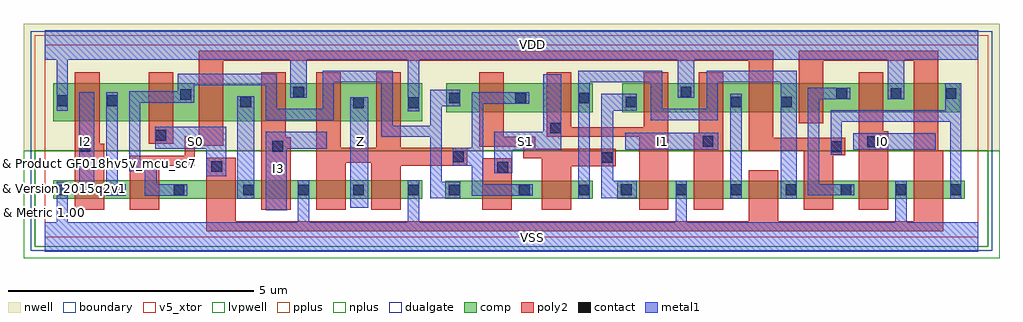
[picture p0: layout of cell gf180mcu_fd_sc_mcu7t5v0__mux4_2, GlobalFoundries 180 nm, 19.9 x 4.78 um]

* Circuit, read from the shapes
.subckt gf180mcu_fd_sc_mcu7t5v0__mux4_2 I0 I1 I2 I3 S0 S1 VDD VSS Z
XM1 n1 I2 VSS VSUBS nfet_05v0 w=0.38u l=0.6u
XM2 n2 n3 n1 VSUBS nfet_05v0 w=0.38u l=0.6u
XM3 n4 S0 n2 VSUBS nfet_05v0 w=0.38u l=0.6u
XM4 VSS I3 n4 VSUBS nfet_05v0 w=0.38u l=0.6u
XM5 Z n5 VSS VSUBS nfet_05v0 w=0.38u l=0.6u m=2
XM6 n5 S1 n2 VSUBS nfet_05v0 w=0.365u l=0.6u
XM7 n6 n7 n5 VSUBS nfet_05v0 w=0.365u l=0.6u
XM8 VSS S1 n7 VSUBS nfet_05v0 w=0.365u l=0.6u
XM9 n8 I1 VSS VSUBS nfet_05v0 w=0.365u l=0.6u
XM10 n6 S0 n8 VSUBS nfet_05v0 w=0.365u l=0.6u
XM11 n9 n3 n6 VSUBS nfet_05v0 w=0.365u l=0.6u
XM12 VSS I0 n9 VSUBS nfet_05v0 w=0.365u l=0.6u
XM13 n3 S0 VSS VSUBS nfet_05v0 w=0.365u l=0.6u
XM14 n1 I2 VDD n10 pfet_05v0 w=0.78u l=0.5u
XM15 n2 S0 n1 n10 pfet_05v0 w=0.78u l=0.5u
XM16 n4 n3 n2 n10 pfet_05v0 w=0.78u l=0.5u
XM17 VDD I3 n4 n10 pfet_05v0 w=0.78u l=0.5u
XM18 Z n5 VDD n10 pfet_05v0 w=0.78u l=0.5u m=2
XM19 n5 n7 n2 n10 pfet_05v0 w=0.595u l=0.5u
XM20 n6 S1 n5 n10 pfet_05v0 w=0.595u l=0.5u
XM21 VDD S1 n7 n10 pfet_05v0 w=0.595u l=0.5u
XM22 n8 I1 VDD n10 pfet_05v0 w=0.595u l=0.5u
XM23 n6 n3 n8 n10 pfet_05v0 w=0.595u l=0.5u
XM24 n9 S0 n6 n10 pfet_05v0 w=0.595u l=0.5u
XM25 VDD I0 n9 n10 pfet_05v0 w=0.595u l=0.5u
XM26 n3 S0 VDD n10 pfet_05v0 w=0.595u l=0.5u
.ends

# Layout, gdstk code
import gdstk
lib = gdstk.Library(unit=1e-6, precision=1e-09)
def R(c, l, rs):  # rectangles x0, y0, x1, y1
    for r in rs: c.add(gdstk.rectangle(r[:2], r[2:], *l))
def A(c, l, x, y, w, h, nx, ny, dx, dy):  # array of equal rectangles
    R(c, l, [(x+i*dx, y+j*dy, x+i*dx+w, y+j*dy+h) for i in range(nx) for j in range(ny)])
def P(c, l, *ps):  # polygons
    for p in ps: c.add(gdstk.Polygon(p, *l))
boundary = (0, 0)
nwell = (21, 0)
comp = (22, 0)
poly2 = (30, 0)
pplus = (31, 0)
nplus = (32, 0)
contact = (33, 0)
metal1 = (34, 0)
dualgate = (55, 0)
v5_xtor = (112, 1)
lvpwell = (204, 0)

gf180mcu_fd_sc_mcu7t5v0_ = lib.new_cell('gf180mcu_fd_sc_mcu7t5v0__mux4_2')
R(gf180mcu_fd_sc_mcu7t5v0_, boundary, [(0,0,19.04,3.92)])
R(gf180mcu_fd_sc_mcu7t5v0_, nwell, [(-0.43,1.76,19.47,4.35)])
R(gf180mcu_fd_sc_mcu7t5v0_, comp, [(0.18,0.78,7.7,1.16), (8.17,0.78,11.18,1.145), (11.68,0.78,18.76,1.145), (0.18,2.36,7.7,3.14), (8.185,2.545,11.18,3.14), (11.78,2.545,18.66,3.14)])
R(gf180mcu_fd_sc_mcu7t5v0_, poly2, [(8.92,0.56,9.52,1.605), (2.12,1.9,2.62,3.36)])
P(gf180mcu_fd_sc_mcu7t5v0_, poly2, [(0.62,0.56),(0.62,3.36),(1.12,3.36),(1.12,1.9),(1.22,1.9),(1.22,0.56)],
  [(4.42,0.56),(4.42,3.36),(4.92,3.36),(4.92,2.04),(5.02,2.04),(5.02,0.56)],
  [(5.54,0.56),(5.54,3.36),(6.04,3.36),(6.04,1.82),(6.76,1.82),(6.76,3.36),(7.26,3.36),(7.26,1.82),(8.62,1.82),(8.62,1.46),(7.26,1.46),(7.26,0.56),(6.66,0.56),(6.66,1.52),(6.14,1.52),(6.14,0.56)],
  [(10.135,0.56),(10.135,1.605),(9.76,1.605),(9.76,1.845),(8.86,1.845),(8.86,3.36),(9.36,3.36),(9.36,2.045),(10,2.045),(10,1.805),(11.645,1.805),(11.645,1.445),(10.735,1.445),(10.735,0.56)],
  [(12.12,0.56),(12.12,2.045),(10.24,2.045),(10.24,3.36),(10.74,3.36),(10.74,2.245),(12.22,2.245),(12.22,3.36),(12.72,3.36),(12.72,0.56)],
  [(13.24,0.56),(13.24,2.13),(13.34,2.13),(13.34,3.36),(13.84,3.36),(13.84,0.56)],
  [(1.74,0.56),(1.74,1.66),(2.86,1.66),(2.86,2.06),(3.14,2.06),(3.14,3.8),(14.86,3.8),(14.86,2.025),(16.32,2.025),(16.32,1.665),(16.08,1.665),(16.08,0.56),(15.48,0.56),(15.48,1.76),(14.36,1.76),(14.36,3.6),(3.64,3.6),(3.64,1.86),(3.06,1.86),(3.06,1.46),(2.34,1.46),(2.34,0.56)],
  [(16.6,0.56),(16.6,3.36),(17.1,3.36),(17.1,2.155),(17.2,2.155),(17.2,0.56)],
  [(3.3,0.12),(3.3,1.62),(3.9,1.62),(3.9,0.32),(14.36,0.32),(14.36,1.365),(14.96,1.365),(14.96,0.32),(17.72,0.32),(17.72,3.6),(15.88,3.6),(15.88,2.325),(15.38,2.325),(15.38,3.8),(18.22,3.8),(18.22,1.775),(18.32,1.775),(18.32,0.12)])
R(gf180mcu_fd_sc_mcu7t5v0_, pplus, [(-0.2,1.76,19.24,4.12)])
R(gf180mcu_fd_sc_mcu7t5v0_, nplus, [(-0.2,-0.2,19.24,1.76)])
A(gf180mcu_fd_sc_mcu7t5v0_, contact, 4.05, 0.85, 0.22, 0.22, 4, 1, 1.12, 0)
A(gf180mcu_fd_sc_mcu7t5v0_, contact, 11.75, 0.855, 0.22, 0.22, 7, 1, 1.12, 0)
R(gf180mcu_fd_sc_mcu7t5v0_, contact, [(0.25,0.85,0.47,1.07), (1.37,0.85,1.59,1.07), (2.63,0.85,2.85,1.07), (8.24,0.85,8.46,1.07), (9.67,0.85,9.89,1.07), (10.89,0.85,11.11,1.07), (9.23,1.315,9.45,1.535), (3.4,1.33,3.62,1.55), (11.355,1.515,11.575,1.735), (8.33,1.53,8.55,1.75), (16.03,1.735,16.25,1.955), (0.71,1.745,0.93,1.965), (4.645,1.745,4.865,1.965), (16.77,1.835,16.99,2.055), (13.415,1.845,13.635,2.065), (2.26,1.97,2.48,2.19), (10.31,2.115,10.53,2.335), (6.29,2.63,6.51,2.85), (7.41,2.63,7.63,2.85), (3.99,2.645,4.21,2.865), (11.85,2.645,12.07,2.865), (13.99,2.645,14.21,2.865), (15.01,2.645,15.23,2.865), (0.25,2.67,0.47,2.89), (1.27,2.67,1.49,2.89), (8.255,2.725,8.475,2.945), (9.6,2.725,9.82,2.945), (10.89,2.725,11.11,2.945), (2.77,2.8,2.99,3.02), (16.145,2.82,16.365,3.04), (17.25,2.82,17.47,3.04), (18.37,2.82,18.59,3.04), (5.07,2.85,5.29,3.07), (12.97,2.85,13.19,3.07)])
R(gf180mcu_fd_sc_mcu7t5v0_, metal1, [(6.23,0.6,6.6,2.855), (3.93,0.78,4.275,2.87), (13.985,0.78,14.215,2.925), (0.705,0.97,1.01,2.95), (11.835,1.78,13.735,2.13), (16.485,1.78,18.175,2.12)])
P(gf180mcu_fd_sc_mcu7t5v0_, metal1, [(1.26,0.845),(1.26,2.95),(1.495,2.95),(1.495,1.075),(1.65,1.075),(1.65,0.845)],
  [(3.3,1.24),(3.3,1.8),(2.255,1.8),(2.255,2.25),(3.7,2.25),(3.7,1.24)],
  [(4.505,0.55),(4.505,2.15),(5.755,2.15),(5.755,1.8),(4.935,1.8),(4.935,0.55)],
  [(7.865,0.79),(7.865,2.045),(6.865,2.045),(6.865,3.155),(5.9,3.155),(5.9,2.38),(4.505,2.38),(4.505,3.1),(3.05,3.1),(3.05,2.74),(1.955,2.74),(1.955,1.57),(2.29,1.57),(2.29,1.075),(2.91,1.075),(2.91,0.845),(2.04,0.845),(2.04,1.34),(1.725,1.34),(1.725,2.97),(2.71,2.97),(2.71,3.33),(4.735,3.33),(4.735,2.615),(5.67,2.615),(5.67,3.39),(7.095,3.39),(7.095,2.275),(7.865,2.275),(7.865,3.005),(8.48,3.005),(8.48,2.665),(8.095,2.665),(8.095,1.13),(8.48,1.13),(8.48,0.79)],
  [(8.71,0.845),(8.71,1.46),(8.325,1.46),(8.325,1.82),(8.71,1.82),(8.71,2.95),(9.88,2.95),(9.88,2.72),(8.94,2.72),(8.94,1.075),(9.95,1.075),(9.95,0.845)],
  [(9.17,1.305),(9.17,2.15),(10.165,2.15),(10.165,3.32),(10.535,3.32),(10.535,1.77),(9.535,1.77),(9.535,1.305)],
  [(11.345,0.795),(11.345,2.925),(12.075,2.925),(12.075,2.575),(11.595,2.575),(11.595,1.145),(12.075,1.145),(12.075,0.795)],
  [(10.885,0.78),(10.885,3.39),(12.59,3.39),(12.59,2.615),(13.5,2.615),(13.5,3.39),(15.335,3.39),(15.335,0.78),(15.005,0.78),(15.005,3.16),(13.73,3.16),(13.73,2.38),(12.36,2.38),(12.36,3.16),(11.115,3.16),(11.115,0.78)],
  [(15.565,0.85),(15.565,3.045),(16.425,3.045),(16.425,2.815),(15.795,2.815),(15.795,1.08),(16.51,1.08),(16.51,0.85)],
  [(18.465,0.78),(18.465,2.355),(16.255,2.355),(16.255,1.675),(16.025,1.675),(16.025,2.585),(18.36,2.585),(18.36,3.14),(18.695,3.14),(18.695,0.78)],
  [(0,-0.3),(0,0.3),(0.245,0.3),(0.245,1.13),(0.475,1.13),(0.475,0.3),(5.165,0.3),(5.165,1.16),(5.395,1.16),(5.395,0.3),(7.405,0.3),(7.405,1.16),(7.635,1.16),(7.635,0.3),(12.865,0.3),(12.865,1.145),(13.095,1.145),(13.095,0.3),(17.345,0.3),(17.345,1.145),(17.575,1.145),(17.575,0.3),(19.04,0.3),(19.04,-0.3)],
  [(7.405,2.57),(7.405,3.62),(5.35,3.62),(5.35,2.845),(5.01,2.845),(5.01,3.62),(0.475,3.62),(0.475,2.575),(0.245,2.575),(0.245,3.62),(0,3.62),(0,4.22),(19.04,4.22),(19.04,3.62),(17.53,3.62),(17.53,2.815),(17.19,2.815),(17.19,3.62),(13.25,3.62),(13.25,2.845),(12.905,2.845),(12.905,3.62),(7.635,3.62),(7.635,2.57)])
R(gf180mcu_fd_sc_mcu7t5v0_, dualgate, [(-0.28,-0.28,19.32,4.2)])
R(gf180mcu_fd_sc_mcu7t5v0_, v5_xtor, [(0,0,19.04,3.92)])
R(gf180mcu_fd_sc_mcu7t5v0_, lvpwell, [(-0.43,-0.43,19.47,1.76)])
gf180mcu_fd_sc_mcu7t5v0_.add(gdstk.Label('I0', (17.08,1.96), layer=34, texttype=10))
gf180mcu_fd_sc_mcu7t5v0_.add(gdstk.Label('VSS', (9.95,0), layer=34, texttype=10))
gf180mcu_fd_sc_mcu7t5v0_.add(gdstk.Label('VDD', (9.95,3.92), layer=34, texttype=10))
gf180mcu_fd_sc_mcu7t5v0_.add(gdstk.Label('I2', (0.84,1.96), layer=34, texttype=10))
gf180mcu_fd_sc_mcu7t5v0_.add(gdstk.Label('I1', (12.6,1.96), layer=34, texttype=10))
gf180mcu_fd_sc_mcu7t5v0_.add(gdstk.Label('S0', (3.08,1.96), layer=34, texttype=10))
gf180mcu_fd_sc_mcu7t5v0_.add(gdstk.Label('I3', (4.76,1.4), layer=34, texttype=10))
gf180mcu_fd_sc_mcu7t5v0_.add(gdstk.Label('S1', (9.8,1.96), layer=34, texttype=10))
gf180mcu_fd_sc_mcu7t5v0_.add(gdstk.Label('Z', (6.44,1.96), layer=34, texttype=10))
gf180mcu_fd_sc_mcu7t5v0_.add(gdstk.Label('& Vendor GLOBALFOUNDRIES', (0,2), layer=63, texttype=63))
gf180mcu_fd_sc_mcu7t5v0_.add(gdstk.Label('& Product GF018hv5v_mcu_sc7', (0,1.5), layer=63, texttype=63))
gf180mcu_fd_sc_mcu7t5v0_.add(gdstk.Label('& Version 2015q2v1', (0,1), layer=63, texttype=63))
gf180mcu_fd_sc_mcu7t5v0_.add(gdstk.Label('& Metric 1.00', (0,0.5), layer=63, texttype=63))

lib.write_gds('gf180mcu_fd_sc_mcu7t5v0__mux4_2.gds')
